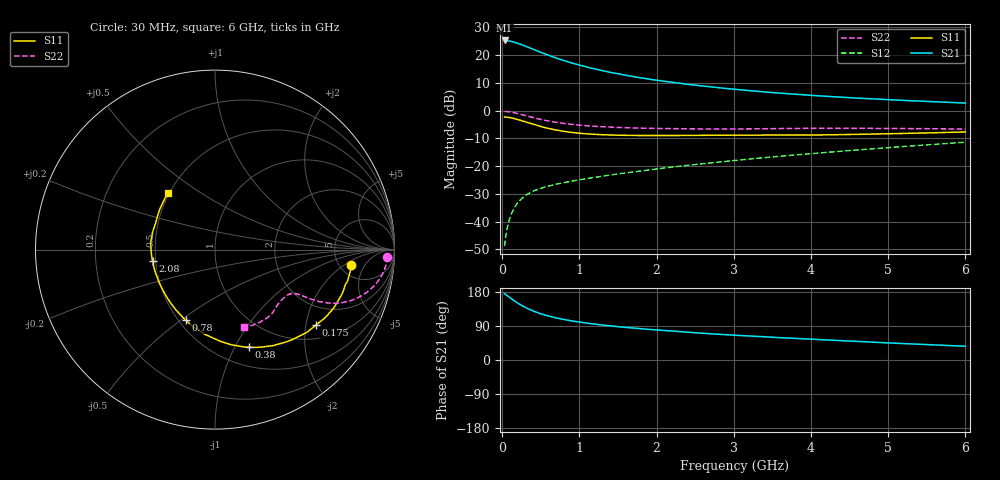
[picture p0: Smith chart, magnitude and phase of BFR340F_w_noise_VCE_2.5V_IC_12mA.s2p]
! Infineon Technologies  Discrete & RF Semiconductors
! BFR340F
! VCE =  2.5 V,  IC =  12 mA
! Common Emitter S-Parameters:  Nov 2015
# GHz  S  MA  R  50
!  f  S11  S21  S12  S22
! GHz  MAG  ANG  MAG  ANG  MAG  ANG  MAG  ANG
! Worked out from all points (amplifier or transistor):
!   206 points, 30 MHz to 6 GHz, reference 50 ohm
!   highest |S21| = 25.2 dB at 30 MHz (marker M1)
!   |S21| within 3 dB of that: start of sweep to 383.4 MHz
!   unconditionally stable (mu >= 1): 1.479 GHz to 4.965 GHz
!   at 200 MHz: K = 0.25, MSG = 28.7 dB, |S12| = -33.2 dB
!   at 1.56 GHz: K = 1.02, MAG = 16.9 dB, |S12| = -22.6 dB
!   at 6 GHz: K = 0.94, MSG = 7.0 dB, |S12| = -11.4 dB
!   lowest NFmin = 1.62 dB at 450 MHz
!   S11 on the Smith chart (normalised r, x): 30 MHz: 6.32, -2.67; 175 MHz: 1.37, -2.27; 380 MHz: 0.70, -1.14; 780 MHz: 0.54, -0.52; 2.08 GHz: 0.48, -0.07; 6 GHz: 0.49, +0.37
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0.03  0.7639 -6.6  18.27 175.4  0.0036 85.4  0.961 -2.3
0.05  0.7611 -10.9  18.09 171.7  0.0059 83.4  0.9585 -4.2
0.09  0.7487 -19.9  17.87 165.8  0.0107 80.2  0.9463 -7.7
0.15  0.7191 -32.3  17.07 156.8  0.0171 75.1  0.9141 -12.4
0.175  0.7016 -37.0  16.64 153.5  0.0194 72.9  0.8971 -14.0
0.2  0.6891 -42.0  16.28 150.1  0.0218 71.2  0.8807 -15.6
0.26  0.6491 -52.5  15.18 142.9  0.0266 67.2  0.8376 -18.8
0.3  0.6242 -59.1  14.43 138.5  0.0295 65.1  0.8087 -20.6
0.38  0.5756 -70.8  12.99 131.0  0.0342 61.8  0.7554 -23.1
0.5  0.5142 -86.1  11.12 121.9  0.0399 58.8  0.688 -25.5
0.6  0.4751 -96.9  9.843 115.8  0.0437 57.6  0.6445 -26.6
0.78  0.4251 -112.7  8.074 107.6  0.0498 57.4  0.5889 -27.4
0.9  0.4032 -121.8  7.178 103.1  0.0535 57.8  0.5621 -27.7
1.04  0.385 -130.5  6.356 98.9  0.0577 58.7  0.5392 -28.0
1.2  0.3715 -139.4  5.593 94.5  0.0626 59.9  0.519 -28.4
1.48  0.3593 -151.7  4.631 88.3  0.0715 62.0  0.4962 -29.5
2.02  0.3535 -168.4  3.478 78.9  0.0894 65.6  0.4744 -32.7
2.08  0.3536 -169.9  3.387 78.0  0.0915 65.9  0.4731 -33.2
3.1  0.36 170.6  2.349 64.5  0.1295 69.7  0.4656 -41.7
4.1  0.3626 155.7  1.836 53.8  0.1717 70.9  0.4784 -49.8
5.1  0.3837 142.1  1.544 44.2  0.2194 70.5  0.4738 -59.5
6  0.4106 130.1  1.362 36.3  0.2687 68.8  0.4634 -69.4
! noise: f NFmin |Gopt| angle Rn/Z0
0.45  1.62  0.17  -3  0.26
0.9  1.82  0.15  6  0.31
1.9  2.52  0.09  -101  0.34
2.4  2.96  0.14  -129  0.33
